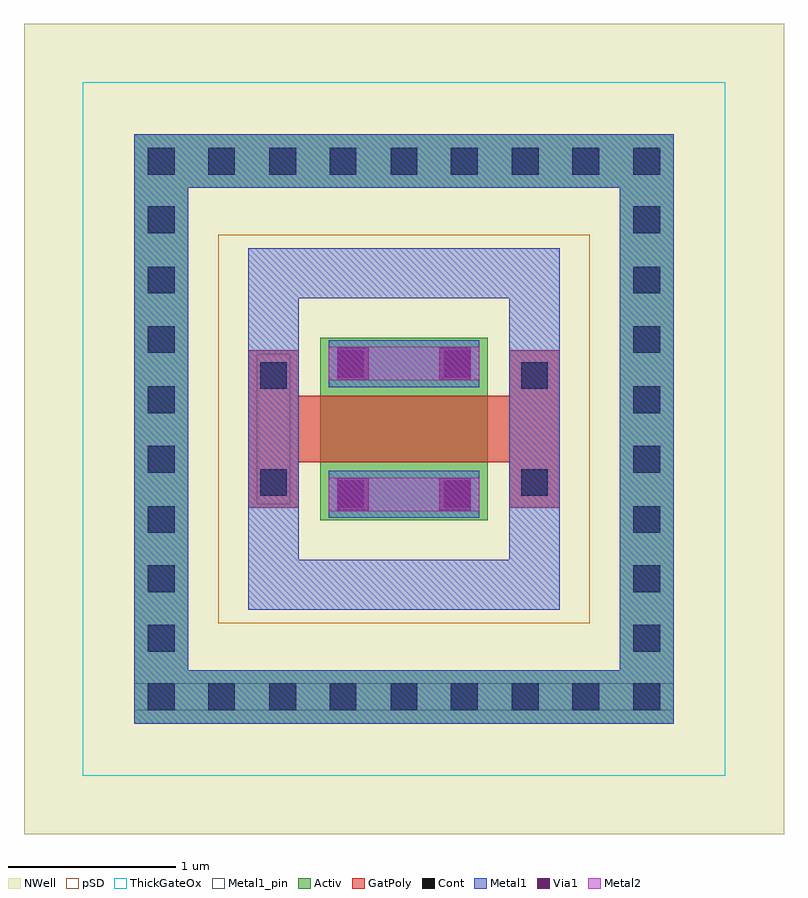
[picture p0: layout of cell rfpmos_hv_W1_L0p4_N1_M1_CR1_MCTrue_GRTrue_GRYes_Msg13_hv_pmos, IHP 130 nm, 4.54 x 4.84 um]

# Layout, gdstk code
import gdstk
lib = gdstk.Library(unit=1e-6, precision=1e-09)
def R(c, l, rs):  # rectangles x0, y0, x1, y1
    for r in rs: c.add(gdstk.rectangle(r[:2], r[2:], *l))
def A(c, l, x, y, w, h, nx, ny, dx, dy):  # array of equal rectangles
    R(c, l, [(x+i*dx, y+j*dy, x+i*dx+w, y+j*dy+h) for i in range(nx) for j in range(ny)])
Activ = (1, 0)
GatPoly = (5, 0)
Cont = (6, 0)
Metal1 = (8, 0)
Metal1_pin = (8, 2)
Metal2 = (10, 0)
pSD = (14, 0)
Via1 = (19, 0)
NWell = (31, 0)
ThickGateOx = (44, 0)

rfpmos_hv_w1_l0p4_n1_m1_ = lib.new_cell('rfpmos_hv_W1_L0p4_N1_M1_CR1_MCTrue_GRTrue_GRYes_Msg13_hv_pmos')
R(rfpmos_hv_w1_l0p4_n1_m1_, Activ, [(0.66,0.66,3.88,0.98), (0.66,0.98,0.98,3.86), (3.56,0.98,3.88,3.86), (1.77,1.875,2.77,2.965), (0.66,3.86,3.88,4.18)])
R(rfpmos_hv_w1_l0p4_n1_m1_, GatPoly, [(1.34,1.95,1.64,2.89), (2.9,1.95,3.2,2.89), (1.64,2.22,2.9,2.62)])
A(rfpmos_hv_w1_l0p4_n1_m1_, Cont, 0.74, 1.09, 0.16, 0.16, 1, 3, 0, 0.355)
A(rfpmos_hv_w1_l0p4_n1_m1_, Cont, 3.64, 1.09, 0.16, 0.16, 1, 3, 0, 0.355)
R(rfpmos_hv_w1_l0p4_n1_m1_, Cont, [(0.74,0.74,0.9,0.9), (1.1,0.74,1.26,0.9), (1.465,0.74,1.625,0.9), (1.825,0.74,1.985,0.9), (2.19,0.74,2.35,0.9), (2.55,0.74,2.71,0.9), (2.915,0.74,3.075,0.9), (3.275,0.74,3.435,0.9), (3.64,0.74,3.8,0.9), (1.87,1.95,2.03,2.11), (2.51,1.95,2.67,2.11), (1.41,2.02,1.57,2.18), (2.97,2.02,3.13,2.18), (0.74,2.16,0.9,2.32), (3.64,2.16,3.8,2.32), (0.74,2.515,0.9,2.675), (3.64,2.515,3.8,2.675), (1.41,2.66,1.57,2.82), (2.97,2.66,3.13,2.82), (1.87,2.73,2.03,2.89), (2.51,2.73,2.67,2.89), (0.74,2.875,0.9,3.035), (3.64,2.875,3.8,3.035), (0.74,3.23,0.9,3.39), (3.64,3.23,3.8,3.39), (0.74,3.59,0.9,3.75), (3.64,3.59,3.8,3.75), (0.74,3.94,0.9,4.1), (1.1,3.94,1.26,4.1), (1.465,3.94,1.625,4.1), (1.825,3.94,1.985,4.1), (2.19,3.94,2.35,4.1), (2.55,3.94,2.71,4.1), (2.915,3.94,3.075,4.1), (3.275,3.94,3.435,4.1), (3.64,3.94,3.8,4.1)])
R(rfpmos_hv_w1_l0p4_n1_m1_, Metal1, [(0.66,0.66,3.88,0.98), (0.66,0.98,0.98,3.86), (3.56,0.98,3.88,3.86), (1.34,1.34,1.64,3.5), (1.64,1.34,2.9,1.64), (2.9,1.34,3.2,3.5), (1.82,1.89,2.72,2.17), (1.39,1.97,1.59,2.87), (2.95,1.97,3.15,2.87), (1.82,2.67,2.72,2.95), (1.64,3.2,2.9,3.5), (0.66,3.86,3.88,4.18)])
R(rfpmos_hv_w1_l0p4_n1_m1_, Metal1_pin, [(0.66,0.74,3.88,0.9), (1.82,1.89,2.72,2.17), (1.39,1.97,1.59,2.87), (1.82,2.67,2.72,2.95)])
R(rfpmos_hv_w1_l0p4_n1_m1_, Metal2, [(1.82,1.93,2.72,2.13), (1.82,2.71,2.72,2.91)])
R(rfpmos_hv_w1_l0p4_n1_m1_, pSD, [(1.16,1.26,3.38,3.58)])
R(rfpmos_hv_w1_l0p4_n1_m1_, Via1, [(1.87,1.935,2.06,2.125), (2.48,1.935,2.67,2.125), (1.87,2.715,2.06,2.905), (2.48,2.715,2.67,2.905)])
R(rfpmos_hv_w1_l0p4_n1_m1_, NWell, [(0,0,4.54,4.84)])
R(rfpmos_hv_w1_l0p4_n1_m1_, ThickGateOx, [(0.35,0.35,4.19,4.49)])

lib.write_gds('rfpmos_hv_W1_L0p4_N1_M1_CR1_MCTrue_GRTrue_GRYes_Msg13_hv_pmos.gds')
